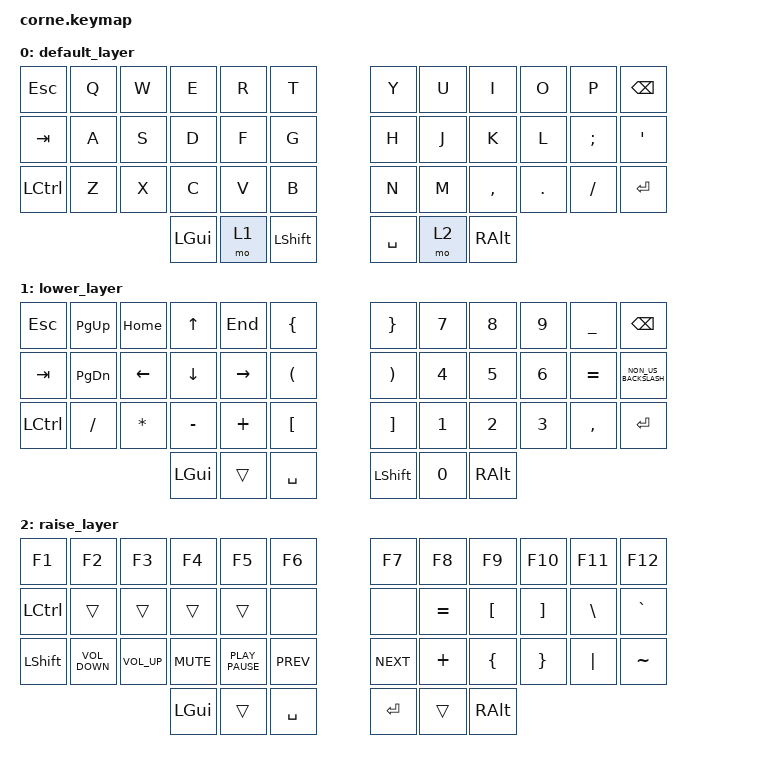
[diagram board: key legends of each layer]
/*
 * Copyright (c) 2020 The ZMK Contributors
 *
 * SPDX-License-Identifier: MIT
 */

#include <behaviors.dtsi>
#include <dt-bindings/zmk/keys.h>

/ {
    keymap {
        compatible = "zmk,keymap";

        default_layer {
            // -----------------------------------------------------------------------------------------
            // |  TAB |  Q  |  W  |  E  |  R  |  T  |   |  Y  |  U   |  I  |  O  |  P  | BKSP |
            // | CTRL |  A  |  S  |  D  |  F  |  G  |   |  H  |  J   |  K  |  L  |  ;  |  '   |
            // | SHFT |  Z  |  X  |  C  |  V  |  B  |   |  N  |  M   |  ,  |  .  |  /  | ESC  |
            //                    | GUI | LWR | SPC |   | ENT | RSE  | ALT |

            bindings = <
&kp ESCAPE        &kp Q  &kp W  &kp E     &kp R  &kp T             &kp Y      &kp U  &kp I      &kp O    &kp P     &kp BSPC
&kp TAB           &kp A  &kp S  &kp D     &kp F  &kp G             &kp H      &kp J  &kp K      &kp L    &kp SEMI  &kp SQT
&kp LEFT_CONTROL  &kp Z  &kp X  &kp C     &kp V  &kp B             &kp N      &kp M  &kp COMMA  &kp DOT  &kp FSLH  &kp ENTER
                                &kp LGUI  &mo 1  &kp LEFT_SHIFT    &kp SPACE  &mo 2  &kp RALT
            >;
        };

        lower_layer {
            // -----------------------------------------------------------------------------------------
            // |  TAB |  1  |  2  |  3  |  4  |  5  |   |  6  |  7  |  8  |  9  |  0  | BKSP |
            // | BTCLR| BT1 | BT2 | BT3 | BT4 | BT5 |   | LFT | DWN |  UP | RGT |     |      |
            // | SHFT |     |     |     |     |     |   |     |     |     |     |     |      |
            //                    | GUI |     | SPC |   | ENT |     | ALT |

            bindings = <
&kp ESCAPE        &kp PAGE_UP    &kp HOME        &kp UP_ARROW  &kp END    &kp LEFT_BRACE          &kp RIGHT_BRACE        &kp N7        &kp N8        &kp N9        &kp UNDERSCORE  &kp BSPC
&kp TAB           &kp PAGE_DOWN  &kp LEFT_ARROW  &kp DOWN      &kp RIGHT  &kp LEFT_PARENTHESIS    &kp RIGHT_PARENTHESIS  &kp NUMBER_4  &kp N5        &kp NUMBER_6  &kp EQUAL       &kp NON_US_BACKSLASH
&kp LEFT_CONTROL  &kp SLASH      &kp ASTERISK    &kp MINUS     &kp PLUS   &kp LEFT_BRACKET        &kp RIGHT_BRACKET      &kp NUMBER_1  &kp NUMBER_2  &kp NUMBER_3  &kp COMMA       &kp ENTER
                                                 &kp LGUI      &trans     &kp SPACE               &kp LEFT_SHIFT         &kp NUMBER_0  &kp RALT
            >;
        };

        raise_layer {
            // -----------------------------------------------------------------------------------------
            // |  TAB |  !  |  @  |  #  |  $  |  %  |   |  ^  |  &  |  *  |  (  |  )  | BKSP |
            // | CTRL |     |     |     |     |     |   |  -  |  =  |  [  |  ]  |  \  |  `   |
            // | SHFT |     |     |     |     |     |   |  _  |  +  |  {  |  }  | "|" |  ~   |
            //                    | GUI |     | SPC |   | ENT |     | ALT |

            bindings = <
&kp F1     &kp F2             &kp F3           &kp F4      &kp F5            &kp F6        &kp F7      &kp F8     &kp F9    &kp F10   &kp F11   &kp F12
&kp LCTRL  &trans             &trans           &trans      &trans            &none         &none       &kp EQUAL  &kp LBKT  &kp RBKT  &kp BSLH  &kp GRAVE
&kp LSHFT  &kp C_VOLUME_DOWN  &kp C_VOLUME_UP  &kp K_MUTE  &kp K_PLAY_PAUSE  &kp K_PREV    &kp K_NEXT  &kp PLUS   &kp LBRC  &kp RBRC  &kp PIPE  &kp TILDE
                                               &kp LGUI    &trans            &kp SPACE     &kp RET     &trans     &kp RALT
            >;
        };
    };
};
